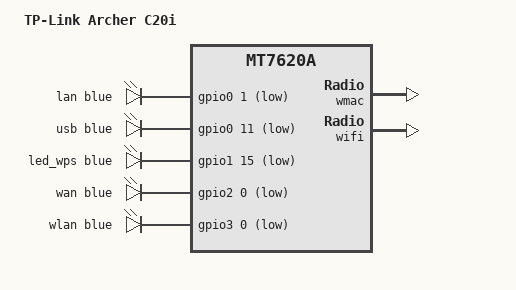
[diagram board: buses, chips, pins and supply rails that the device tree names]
#include <dt-bindings/leds/common.h>

#include "mt7620a_tplink_archer.dtsi"

/ {
	compatible = "tplink,archer-c20i", "ralink,mt7620a-soc";
	model = "TP-Link Archer C20i";

	aliases {
		led-boot = &led_wps;
		led-failsafe = &led_wps;
		led-running = &led_wps;
		led-upgrade = &led_wps;
		label-mac-device = &ethernet;
	};

	leds {
		compatible = "gpio-leds";

		lan {
			function = LED_FUNCTION_LAN;
			color = <LED_COLOR_ID_BLUE>;
			gpios = <&gpio0 1 GPIO_ACTIVE_LOW>;
		};

		usb {
			function = LED_FUNCTION_USB;
			color = <LED_COLOR_ID_BLUE>;
			gpios = <&gpio0 11 GPIO_ACTIVE_LOW>;
			trigger-sources = <&ohci_port1>, <&ehci_port1>;
			linux,default-trigger = "usbport";
		};

		led_wps: wps {
			function = LED_FUNCTION_WPS;
			color = <LED_COLOR_ID_BLUE>;
			gpios = <&gpio1 15 GPIO_ACTIVE_LOW>;
		};

		wan {
			function = LED_FUNCTION_WAN;
			color = <LED_COLOR_ID_BLUE>;
			gpios = <&gpio2 0 GPIO_ACTIVE_LOW>;
		};

		wlan {
			function = LED_FUNCTION_WLAN;
			color = <LED_COLOR_ID_BLUE>;
			gpios = <&gpio3 0 GPIO_ACTIVE_LOW>;
			linux,default-trigger = "phy1tpt";
		};
	};
};

&state_default {
	gpio {
		groups = "i2c", "uartf", "rgmii1", "rgmii2", "wled", "nd_sd", "ephy", "spi refclk";
		function = "gpio";
	};
};

&wmac {
	nvmem-cells = <&eeprom_radio_0>, <&macaddr_rom_f100 0>;
	nvmem-cell-names = "eeprom", "mac-address";
};

&wifi {
	nvmem-cells = <&eeprom_radio_8000>, <&macaddr_rom_f100 (-1)>;
	nvmem-cell-names = "eeprom", "mac-address";
};
